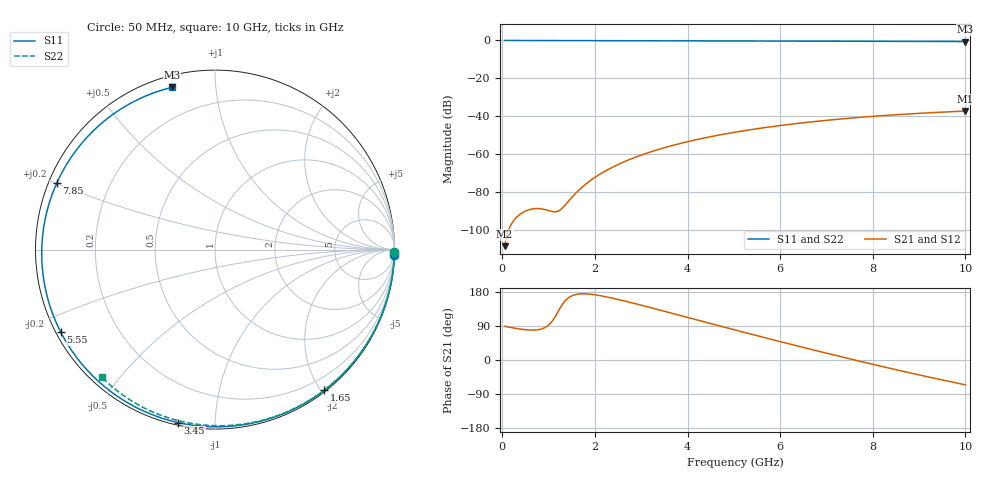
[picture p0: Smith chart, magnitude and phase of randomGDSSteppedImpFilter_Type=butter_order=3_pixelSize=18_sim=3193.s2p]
! freq	dB(S11)	phase(S11)	dB(S12)	phase(S12)
!  dB(S21)	phase(S21)	dB(S22)	phase(S22)
!S-par simulation data
#  GHz  S  DB  R 50
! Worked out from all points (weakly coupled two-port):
!   200 points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, 50 MHz to 10 GHz, reference 50 ohm
!   highest |S21| = -37.21 dB at 10 GHz (marker M1); lowest = -108.4 dB at 50 MHz (marker M2)
!   lowest |S11| = -0.6 dB at 10 GHz (marker M3), VSWR 29.82, Z = 2.67 + j38.4 ohm
!   |S11| at or under -10 dB: nowhere
!   |S22| runs from -0.4 to 0.0 dB; largest |S21 - S12| = 0
!   S11 on the Smith chart (normalised r, x): 50 MHz: 0, -70; 1.65 GHz: 0.02, -2.05; 3.45 GHz: 0.01, -0.81; 5.55 GHz: 0.01, -0.25; 7.85 GHz: 0.02, +0.20; 10 GHz: 0.05, +0.77
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0.05  -0.00 -1.6  -108.39 89.0  -108.39 89.0  -0.00 -0.8
0.4  -0.02 -13.0  -91.25 81.4  -91.25 81.4  -0.01 -6.1
0.8  -0.03 -25.8  -88.61 80.5  -88.61 80.5  -0.02 -12.1
1.2  -0.05 -38.3  -90.01 126.5  -90.01 126.5  -0.02 -18.1
1.6  -0.06 -50.6  -80.13 173.1  -80.13 173.1  -0.03 -24.0
1.65  -0.06 -52.1  -78.94 174.1  -78.94 174.1  -0.03 -24.8
1.75  -0.07 -55.1  -76.74 174.7  -76.74 174.7  -0.03 -26.2
2.05  -0.08 -63.9  -71.34 171.1  -71.34 171.1  -0.04 -30.6
2.45  -0.09 -75.3  -65.94 161.2  -65.94 161.2  -0.05 -36.5
2.9  -0.11 -87.7  -61.28 147.8  -61.28 147.8  -0.06 -42.9
3.4  -0.12 -100.8  -57.21 131.9  -57.21 131.9  -0.07 -50.0
3.45  -0.13 -102.1  -56.85 130.3  -56.85 130.3  -0.07 -50.7
4.2  -0.16 -120.7  -52.22 105.9  -52.22 105.9  -0.09 -61.0
5.05  -0.20 -140.6  -48.23 78.5  -48.23 78.5  -0.11 -72.3
5.55  -0.22 -151.9  -46.33 62.7  -46.33 62.7  -0.13 -78.8
6.15  -0.26 -165.2  -44.37 43.9  -44.37 43.9  -0.15 -86.4
6.7  -0.30 -177.3  -42.83 27.1  -42.83 27.1  -0.18 -93.2
7.25  -0.34 170.5  -41.50 10.5  -41.50 10.5  -0.21 -99.8
7.85  -0.39 157.0  -40.26 -7.1  -40.26 -7.1  -0.25 -107.0
8.35  -0.43 145.5  -39.38 -21.4  -39.38 -21.4  -0.29 -112.8
9.25  -0.51 123.9  -38.07 -46.1  -38.07 -46.1  -0.37 -123.1
10  -0.58 104.9  -37.21 -65.5  -37.21 -65.5  -0.45 -131.6
